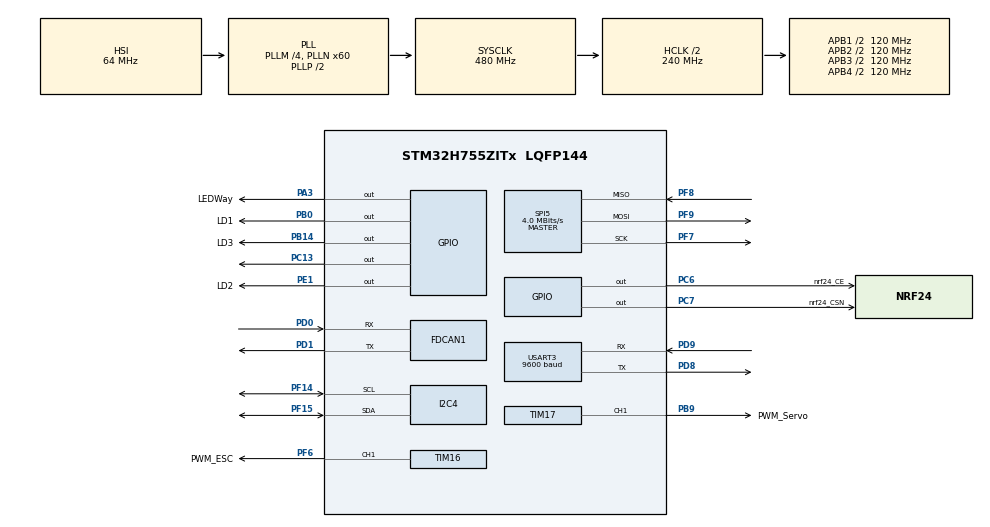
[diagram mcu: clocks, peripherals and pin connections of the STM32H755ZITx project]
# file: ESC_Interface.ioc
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CortexM4.IPs=BDMA,CORTEX_M4\:I,DEBUG,DMA,FATFS_M4\:I,FREERTOS_M4\:I,GPIO,IWDG2\:I,MDMA,NVIC2\:I,OPENAMP_M4\:I,PDM2PCM_M4\:I,PWR,RCC,RESMGR_UTILITY,SYS_M4\:I,USB_DEVICE_M4\:I,USB_HOST_M4\:I,VREFBUF,WWDG2\:I,USART3
CortexM7.IPs=BDMA\:I,CORTEX_M7\:I,DEBUG\:I,DMA\:I,FATFS_M7\:I,FREERTOS_M7\:I,GPIO\:I,IWDG1\:I,MDMA\:I,NVIC1\:I,OPENAMP_M7\:I,PDM2PCM_M7\:I,PWR\:I,RCC\:I,RESMGR_UTILITY\:I,SYS\:I,USB_DEVICE_M7\:I,USB_HOST_M7\:I,VREFBUF\:I,WWDG1\:I,USART3\:I,SPI5\:I,FDCAN1\:I,I2C4\:I,TIM16\:I,TIM17\:I
CortexM7.Pins=PA3,PC6,PC7
FDCAN1.CalculateBaudRateNominal=500000
FDCAN1.CalculateTimeBitNominal=2000
FDCAN1.CalculateTimeQuantumNominal=50.0
FDCAN1.NominalPrescaler=2
FDCAN1.NominalSyncJumpWidth=8
FDCAN1.NominalTimeSeg1=0x1F
FDCAN1.NominalTimeSeg2=8
FDCAN1.ProtocolException=ENABLE
FDCAN1.RxFifo0ElmtsNbr=1
FDCAN1.StdFiltersNbr=1
FDCAN1.TxFifoQueueElmtsNbr=1
FREERTOS_M4.Tasks01=defaultTask,0,128,StartDefaultTask,Default,NULL,Dynamic,NULL,NULL
FREERTOS_M7.Tasks01=defaultTask,0,128,StartDefaultTask,Default,NULL,Dynamic,NULL,NULL
I2C4.Timing=0x307075B1
Mcu.Family=STM32H7
Mcu.Name=STM32H755ZITx
Mcu.Package=LQFP144
NVIC1.PriorityGroup=NVIC_PRIORITYGROUP_4
NVIC2.PriorityGroup=NVIC_PRIORITYGROUP_4
PA3.GPIO_Label=LEDWay
PA3.PinAttribute=CortexM7
PA3.Signal=GPIO_Output
PB0.GPIO_Label=LD1
PB0.PinAttribute=Free
PB0.Signal=GPIO_Output
PB14.GPIO_Label=LD3
PB14.PinAttribute=Free
PB14.Signal=GPIO_Output
PB9.GPIO_Label=PWM_Servo
PB9.PinAttribute=CortexM7
PB9.Signal=S_TIM17_CH1
PC13.PinAttribute=Free
PC13.Signal=GPIO_Output
PC14-OSC32_IN\ (OSC32_IN).Mode=LSE-External-Oscillator
PC14-OSC32_IN\ (OSC32_IN).PinAttribute=CortexM7
PC14-OSC32_IN\ (OSC32_IN).Signal=RCC_OSC32_IN
PC15-OSC32_OUT\ (OSC32_OUT).Mode=LSE-External-Oscillator
PC15-OSC32_OUT\ (OSC32_OUT).PinAttribute=CortexM7
PC15-OSC32_OUT\ (OSC32_OUT).Signal=RCC_OSC32_OUT
PC6.GPIO_Label=nrf24_CE
PC6.PinAttribute=CortexM7
PC6.Signal=GPIO_Output
PC7.GPIO_Label=nrf24_CSN
PC7.PinAttribute=CortexM7
PC7.Signal=GPIO_Output
PD0.Mode=FDCAN_Activate
PD0.PinAttribute=CortexM7
PD0.Signal=FDCAN1_RX
PD1.Mode=FDCAN_Activate
PD1.PinAttribute=CortexM7
PD1.Signal=FDCAN1_TX
PD8.Mode=Asynchronous
PD8.PinAttribute=CortexM7
PD8.Signal=USART3_TX
PD9.Mode=Asynchronous
PD9.PinAttribute=CortexM7
PD9.Signal=USART3_RX
PE1.GPIO_Label=LD2
PE1.PinAttribute=Free
PE1.Signal=GPIO_Output
PF14.Mode=I2C
PF14.PinAttribute=CortexM7
PF14.Signal=I2C4_SCL
PF15.Mode=I2C
PF15.PinAttribute=CortexM7
PF15.Signal=I2C4_SDA
PF6.GPIO_Label=PWM_ESC
PF6.PinAttribute=CortexM7
PF6.Signal=S_TIM16_CH1
PF7.Mode=Full_Duplex_Master
PF7.PinAttribute=CortexM7
PF7.Signal=SPI5_SCK
PF8.Mode=Full_Duplex_Master
PF8.PinAttribute=CortexM7
PF8.Signal=SPI5_MISO
PF9.Mode=Full_Duplex_Master
PF9.PinAttribute=CortexM7
PF9.Signal=SPI5_MOSI
PH0-OSC_IN\ (PH0).Mode=HSE-External-Clock-Source
PH0-OSC_IN\ (PH0).PinAttribute=CortexM7
PH0-OSC_IN\ (PH0).Signal=RCC_OSC_IN
ProjectManager.HeapSize=M4-0x200,M7-0x200
ProjectManager.StackSize=M4-0x400,M7-0x400
ProjectManager.TargetToolchain=STM32CubeIDE
RCC.ADCFreq_Value=129000000
RCC.APB1Freq_Value=120000000
RCC.APB2Freq_Value=120000000
RCC.APB3Freq_Value=120000000
RCC.APB4Freq_Value=120000000
RCC.CortexFreq_Value=480000000
RCC.D1PPRE=RCC_APB3_DIV2
RCC.D2PPRE1=RCC_APB1_DIV2
RCC.D2PPRE2=RCC_APB2_DIV2
RCC.D3PPRE=RCC_APB4_DIV2
RCC.DIVM1=4
RCC.DIVN1=60
RCC.DIVQ1=24
RCC.HCLKFreq_Value=240000000
RCC.HPRE=RCC_HCLK_DIV2
RCC.HSE_VALUE=8000000
RCC.PLL2FRACN=0
RCC.PLL3FRACN=0
RCC.PLLFRACN=0
RCC.PWR_Regulator_Voltage_Scale=PWR_REGULATOR_VOLTAGE_SCALE0
RCC.SYSCLKFreq_VALUE=480000000
RCC.SYSCLKSource=RCC_SYSCLKSOURCE_PLLCLK
RCC.Spi45ClockSelection=RCC_SPI45CLKSOURCE_HSI
RCC.USBFreq_Value=40000000
SH.S_TIM16_CH1.0=TIM16_CH1,PWM Generation1 CH1
SH.S_TIM17_CH1.0=TIM17_CH1,PWM Generation1 CH1
SPI5.BaudRatePrescaler=SPI_BAUDRATEPRESCALER_16
SPI5.CalculateBaudRate=4.0 MBits/s
SPI5.DataSize=SPI_DATASIZE_8BIT
SPI5.Direction=SPI_DIRECTION_2LINES
SPI5.Mode=SPI_MODE_MASTER
SPI5.VirtualType=VM_MASTER
TIM16.Channel=TIM_CHANNEL_1
TIM16.Period=19999
TIM16.Prescaler=239
TIM16.Pulse=1500
TIM17.Channel=TIM_CHANNEL_1
TIM17.Period=19999
TIM17.Prescaler=239
USART3.BaudRate=9600
USART3.VirtualMode-Asynchronous=VM_ASYNC
VP_FREERTOS_M4_VS_CMSIS_V1.Mode=CMSIS_V1
VP_FREERTOS_M7_VS_CMSIS_V1.Mode=CMSIS_V1
VP_TIM16_VS_ClockSourceINT.Mode=Enable_Timer
VP_TIM17_VS_ClockSourceINT.Mode=Enable_Timer
board=custom

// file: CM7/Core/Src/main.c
/* USER CODE BEGIN Header */
/**
  ******************************************************************************
  * @file           : main.c
  * @brief          : Main program body
  ******************************************************************************
  * @attention
  *
  * Copyright (c) 2024 STMicroelectronics.
  * All rights reserved.
  *
  * This software is licensed under terms that can be found in the LICENSE file
  * in the root directory of this software component.
  * If no LICENSE file comes with this software, it is provided AS-IS.
  *
  ******************************************************************************
  */
/* USER CODE END Header */
#include "main.h"
#include "cmsis_os.h"

/* USER CODE BEGIN Includes */
#include "waypointDemo.h"
#include "MY_NRF24.h"
#include "mpu6050.h"
#include "myprintf.h"
#include "positionMessage.h"

/* USER CODE END Includes */

/* USER CODE BEGIN PD */

#ifndef HSEM_ID_0
#define HSEM_ID_0 (0U) /* HW semaphore 0*/
#endif
/* USER CODE END PD */

/* USER CODE BEGIN PM */
FDCAN_HandleTypeDef hfdcan1;
I2C_HandleTypeDef hi2c4;
SPI_HandleTypeDef hspi5;
TIM_HandleTypeDef htim16;
TIM_HandleTypeDef htim17;
UART_HandleTypeDef huart3;

osThreadId tarea1Handle;
osThreadId tarea2Handle;
osThreadId tarea3Handle;

osMessageQId msgQueueHandle;

osMutexId Mutex1Handle;
/* USER CODE END PM */

FDCAN_HandleTypeDef hfdcan1;

I2C_HandleTypeDef hi2c4;

SPI_HandleTypeDef hspi5;

TIM_HandleTypeDef htim16;
TIM_HandleTypeDef htim17;

UART_HandleTypeDef huart3;

/* USER CODE BEGIN PV */
FDCAN_FilterTypeDef sFilterConfig;
FDCAN_TxHeaderTypeDef TxHeader;
FDCAN_RxHeaderTypeDef RxHeader;
uint8_t TxData[8] = {0x10, 0x34, 0x54, 0x76, 0x98, 0x00, 0x11, 0x22};
uint8_t RxData[8];
// Variables para ensamblar los valores x, y y a
uint16_t x = 0;
uint16_t y = 0;
uint16_t a = 0;

/* USER CODE END PV */

void SystemClock_Config(void);
static void MX_GPIO_Init(void);
static void MX_USART3_UART_Init(void);
static void MX_SPI5_Init(void);
static void MX_FDCAN1_Init(void);
static void MX_I2C4_Init(void);
static void MX_TIM16_Init(void);
static void MX_TIM17_Init(void);
void StartDefaultTask(void const * argument);

/* USER CODE BEGIN PFP */
void SystemClock_Config(void);
static void MX_GPIO_Init(void);
static void MX_USART3_UART_Init(void);
static void MX_SPI5_Init(void);
static void MX_FDCAN1_Init(void);
static void MX_I2C4_Init(void);
static void MX_TIM16_Init(void);
static void MX_TIM17_Init(void);
void Tasks_Init(void);
void Task2_Init(void);
void startTask1(void const *argument);
void startTask2(void const *argument);
void startTask3(void const *argument);
/* USER CODE END PFP */

/* USER CODE BEGIN 0 */
volatile uint64_t cntMilisec = 0;
uint64_t RxpipeAddrs = 0x11223344AA;
char myRxData[32];
char myAckPayload[32] = "Ack by STMF7!";

float distanceTraveled;
int32_t encoderPosition;

/* USER CODE END 0 */

int main(void)
{
/* USER CODE BEGIN Boot_Mode_Sequence_0 */
/* USER CODE END Boot_Mode_Sequence_0 */

/* USER CODE BEGIN Boot_Mode_Sequence_1 */
  /* Wait until CPU2 boots and enters in stop mode or timeout*/

/* USER CODE END Boot_Mode_Sequence_1 */
  /* MCU Configuration--------------------------------------------------------*/

  /* Reset of all peripherals, Initializes the Flash interface and the Systick. */
  HAL_Init();

  /* Configure the system clock */
  SystemClock_Config();
/* USER CODE BEGIN Boot_Mode_Sequence_2 */
/* When system initialization is finished, Cortex-M7 will release Cortex-M4 by means of
HSEM notification */
/*HW semaphore Clock enable*/
__HAL_RCC_HSEM_CLK_ENABLE();
/*Take HSEM */
HAL_HSEM_FastTake(HSEM_ID_0);
/*Release HSEM in order to notify the CPU2(CM4)*/
HAL_HSEM_Release(HSEM_ID_0,0);
/* wait until CPU2 wakes up from stop mode */
/* USER CODE END Boot_Mode_Sequence_2 */

  /* Initialize all configured peripherals */
  MX_GPIO_Init();
  MX_USART3_UART_Init();
  MX_SPI5_Init();
  MX_FDCAN1_Init();
  MX_I2C4_Init();
  MX_TIM16_Init();
  MX_TIM17_Init();
  /* USER CODE BEGIN 2 */
	Tasks_Init();
	Task2_Init();
  /* USER CODE END 2 */

  /* USER CODE BEGIN RTOS_MUTEX */
  /* add mutexes, ... */
	osMutexDef(Mutex1);
	//osMutexDef(Mutex2);
	Mutex1Handle = osMutexCreate(osMutex(Mutex1));
  /* USER CODE END RTOS_MUTEX */

  /* USER CODE BEGIN RTOS_QUEUES */
  /* add queues, ... */
	osMessageQDef(msgQueue, 4, positionMessage);
	msgQueueHandle = osMessageCreate(osMessageQ(msgQueue), NULL);
  /* USER CODE END RTOS_QUEUES */

  /* Create the thread(s) */
  /* definition and creation of defaultTask */

  /* USER CODE BEGIN RTOS_THREADS */
	osThreadDef(task1, startTask1, 4, 0, 384);
	tarea1Handle = osThreadCreate(osThread(task1), NULL);

	osThreadDef(task3, startTask3, 2, 0, 384);
	tarea3Handle = osThreadCreate(osThread(task3), NULL);

	osThreadDef(task2, startTask2, 3, 0, 384);
	tarea2Handle = osThreadCreate(osThread(task2), NULL);
  /* add threads, ... */
  /* USER CODE END RTOS_THREADS */

  /* Start scheduler */
  osKernelStart();

  /* We should never get here as control is now taken by the scheduler */
  /* Infinite loop */
  while (1)
  {

  }
}

void SystemClock_Config(void)
{
  RCC_OscInitTypeDef RCC_OscInitStruct = {0};
  RCC_ClkInitTypeDef RCC_ClkInitStruct = {0};

  /** Supply configuration update enable
  */
  HAL_PWREx_ConfigSupply(PWR_DIRECT_SMPS_SUPPLY);

  /** Configure the main internal regulator output voltage
  */
  __HAL_PWR_VOLTAGESCALING_CONFIG(PWR_REGULATOR_VOLTAGE_SCALE0);

  while(!__HAL_PWR_GET_FLAG(PWR_FLAG_VOSRDY)) {}

  /** Initializes the RCC Oscillators according to the specified parameters
  * in the RCC_OscInitTypeDef structure.
  */
  RCC_OscInitStruct.OscillatorType = RCC_OSCILLATORTYPE_HSI;
  RCC_OscInitStruct.HSIState = RCC_HSI_DIV1;
  RCC_OscInitStruct.HSICalibrationValue = RCC_HSICALIBRATION_DEFAULT;
  RCC_OscInitStruct.PLL.PLLState = RCC_PLL_ON;
  RCC_OscInitStruct.PLL.PLLSource = RCC_PLLSOURCE_HSI;
  RCC_OscInitStruct.PLL.PLLM = 4;
  RCC_OscInitStruct.PLL.PLLN = 60;
  RCC_OscInitStruct.PLL.PLLP = 2;
  RCC_OscInitStruct.PLL.PLLQ = 24;
  RCC_OscInitStruct.PLL.PLLR = 2;
  RCC_OscInitStruct.PLL.PLLRGE = RCC_PLL1VCIRANGE_3;
  RCC_OscInitStruct.PLL.PLLVCOSEL = RCC_PLL1VCOWIDE;
  RCC_OscInitStruct.PLL.PLLFRACN = 0;
  if (HAL_RCC_OscConfig(&RCC_OscInitStruct) != HAL_OK)
  {
    Error_Handler();
  }

  /** Initializes the CPU, AHB and APB buses clocks
  */
  RCC_ClkInitStruct.ClockType = RCC_CLOCKTYPE_HCLK|RCC_CLOCKTYPE_SYSCLK
                              |RCC_CLOCKTYPE_PCLK1|RCC_CLOCKTYPE_PCLK2
                              |RCC_CLOCKTYPE_D3PCLK1|RCC_CLOCKTYPE_D1PCLK1;
  RCC_ClkInitStruct.SYSCLKSource = RCC_SYSCLKSOURCE_PLLCLK;
  RCC_ClkInitStruct.SYSCLKDivider = RCC_SYSCLK_DIV1;
  RCC_ClkInitStruct.AHBCLKDivider = RCC_HCLK_DIV2;
  RCC_ClkInitStruct.APB3CLKDivider = RCC_APB3_DIV2;
  RCC_ClkInitStruct.APB1CLKDivider = RCC_APB1_DIV2;
  RCC_ClkInitStruct.APB2CLKDivider = RCC_APB2_DIV2;
  RCC_ClkInitStruct.APB4CLKDivider = RCC_APB4_DIV2;

  if (HAL_RCC_ClockConfig(&RCC_ClkInitStruct, FLASH_LATENCY_4) != HAL_OK)
  {
    Error_Handler();
  }
}

static void MX_FDCAN1_Init(void)
{

  hfdcan1.Instance = FDCAN1;
  hfdcan1.Init.FrameFormat = FDCAN_FRAME_CLASSIC;
  hfdcan1.Init.Mode = FDCAN_MODE_NORMAL;
  hfdcan1.Init.AutoRetransmission = DISABLE;
  hfdcan1.Init.TransmitPause = DISABLE;
  hfdcan1.Init.ProtocolException = ENABLE;
  hfdcan1.Init.NominalPrescaler = 2;
  hfdcan1.Init.NominalSyncJumpWidth = 8;
  hfdcan1.Init.NominalTimeSeg1 = 0x1F;
  hfdcan1.Init.NominalTimeSeg2 = 8;
  hfdcan1.Init.DataPrescaler = 1;
  hfdcan1.Init.DataSyncJumpWidth = 1;
  hfdcan1.Init.DataTimeSeg1 = 1;
  hfdcan1.Init.DataTimeSeg2 = 1;
  hfdcan1.Init.MessageRAMOffset = 0;
  hfdcan1.Init.StdFiltersNbr = 1;
  hfdcan1.Init.ExtFiltersNbr = 0;
  hfdcan1.Init.RxFifo0ElmtsNbr = 1;
  hfdcan1.Init.RxFifo0ElmtSize = FDCAN_DATA_BYTES_8;
  hfdcan1.Init.RxFifo1ElmtsNbr = 0;
  hfdcan1.Init.RxFifo1ElmtSize = FDCAN_DATA_BYTES_8;
  hfdcan1.Init.RxBuffersNbr = 0;
  hfdcan1.Init.RxBufferSize = FDCAN_DATA_BYTES_8;
  hfdcan1.Init.TxEventsNbr = 0;
  hfdcan1.Init.TxBuffersNbr = 0;
  hfdcan1.Init.TxFifoQueueElmtsNbr = 1;
  hfdcan1.Init.TxFifoQueueMode = FDCAN_TX_FIFO_OPERATION;
  hfdcan1.Init.TxElmtSize = FDCAN_DATA_BYTES_8;
  if (HAL_FDCAN_Init(&hfdcan1) != HAL_OK)
  {
    Error_Handler();
  }
  /* USER CODE BEGIN FDCAN1_Init 2 */
  /*AAO+*/
    /* Configure Rx filter */
    sFilterConfig.IdType = FDCAN_STANDARD_ID;
    sFilterConfig.FilterIndex = 0;
    sFilterConfig.FilterType = FDCAN_FILTER_MASK;
    sFilterConfig.FilterConfig = FDCAN_FILTER_TO_RXFIFO0;
    sFilterConfig.FilterID1 = 0x000;
    sFilterConfig.FilterID2 = 0x000;
    /* Configure global filter to reject all non-matching frames */
    HAL_FDCAN_ConfigGlobalFilter(&hfdcan1, FDCAN_REJECT, FDCAN_REJECT, FDCAN_REJECT_REMOTE,
    FDCAN_REJECT_REMOTE);
    if (HAL_FDCAN_ConfigFilter(&hfdcan1, &sFilterConfig) != HAL_OK)
    {
  	  /* Filter configuration Error */
  	  Error_Handler();
    }
    /* Start the FDCAN module */
    if (HAL_FDCAN_Start(&hfdcan1) != HAL_OK) {
    }
    /* Start Error */
    if (HAL_FDCAN_ActivateNotification(&hfdcan1, FDCAN_IT_RX_FIFO0_NEW_MESSAGE, 0) != HAL_OK) {
    }
    /* Notification Error */
  	  /* Configure Tx buffer message */
  	  TxHeader.Identifier = 0x111;
  	  TxHeader.IdType = FDCAN_STANDARD_ID;
  	  TxHeader.TxFrameType = FDCAN_DATA_FRAME;
  	  TxHeader.DataLength = FDCAN_DLC_BYTES_12;
  	  TxHeader.ErrorStateIndicator = FDCAN_ESI_ACTIVE;
  	  TxHeader.BitRateSwitch = FDCAN_BRS_ON;
  	  TxHeader.FDFormat = FDCAN_FD_CAN;
  	  TxHeader.TxEventFifoControl = FDCAN_NO_TX_EVENTS;
  	  TxHeader.MessageMarker = 0x00;
  	  /*AAO-*/
  /* USER CODE END FDCAN1_Init 2 */

}

static void MX_I2C4_Init(void)
{

  hi2c4.Instance = I2C4;
  hi2c4.Init.Timing = 0x307075B1;
  hi2c4.Init.OwnAddress1 = 0;
  hi2c4.Init.AddressingMode = I2C_ADDRESSINGMODE_7BIT;
  hi2c4.Init.DualAddressMode = I2C_DUALADDRESS_DISABLE;
  hi2c4.Init.OwnAddress2 = 0;
  hi2c4.Init.OwnAddress2Masks = I2C_OA2_NOMASK;
  hi2c4.Init.GeneralCallMode = I2C_GENERALCALL_DISABLE;
  hi2c4.Init.NoStretchMode = I2C_NOSTRETCH_DISABLE;
  if (HAL_I2C_Init(&hi2c4) != HAL_OK)
  {
    Error_Handler();
  }

  /** Configure Analogue filter
  */
  if (HAL_I2CEx_ConfigAnalogFilter(&hi2c4, I2C_ANALOGFILTER_ENABLE) != HAL_OK)
  {
    Error_Handler();
  }

  /** Configure Digital filter
  */
  if (HAL_I2CEx_ConfigDigitalFilter(&hi2c4, 0) != HAL_OK)
  {
    Error_Handler();
  }

}

static void MX_SPI5_Init(void)
{

  /* SPI5 parameter configuration*/
  hspi5.Instance = SPI5;
  hspi5.Init.Mode = SPI_MODE_MASTER;
  hspi5.Init.Direction = SPI_DIRECTION_2LINES;
  hspi5.Init.DataSize = SPI_DATASIZE_8BIT;
  hspi5.Init.CLKPolarity = SPI_POLARITY_LOW;
  hspi5.Init.CLKPhase = SPI_PHASE_1EDGE;
  hspi5.Init.NSS = SPI_NSS_SOFT;
  hspi5.Init.BaudRatePrescaler = SPI_BAUDRATEPRESCALER_16;
  hspi5.Init.FirstBit = SPI_FIRSTBIT_MSB;
  hspi5.Init.TIMode = SPI_TIMODE_DISABLE;
  hspi5.Init.CRCCalculation = SPI_CRCCALCULATION_DISABLE;
  hspi5.Init.CRCPolynomial = 0x0;
  hspi5.Init.NSSPMode = SPI_NSS_PULSE_ENABLE;
  hspi5.Init.NSSPolarity = SPI_NSS_POLARITY_LOW;
  hspi5.Init.FifoThreshold = SPI_FIFO_THRESHOLD_01DATA;
  hspi5.Init.TxCRCInitializationPattern = SPI_CRC_INITIALIZATION_ALL_ZERO_PATTERN;
  hspi5.Init.RxCRCInitializationPattern = SPI_CRC_INITIALIZATION_ALL_ZERO_PATTERN;
  hspi5.Init.MasterSSIdleness = SPI_MASTER_SS_IDLENESS_00CYCLE;
  hspi5.Init.MasterInterDataIdleness = SPI_MASTER_INTERDATA_IDLENESS_00CYCLE;
  hspi5.Init.MasterReceiverAutoSusp = SPI_MASTER_RX_AUTOSUSP_DISABLE;
  hspi5.Init.MasterKeepIOState = SPI_MASTER_KEEP_IO_STATE_DISABLE;
  hspi5.Init.IOSwap = SPI_IO_SWAP_DISABLE;
  if (HAL_SPI_Init(&hspi5) != HAL_OK)
  {
    Error_Handler();
  }

}

static void MX_TIM16_Init(void)
{

  TIM_OC_InitTypeDef sConfigOC = {0};
  TIM_BreakDeadTimeConfigTypeDef sBreakDeadTimeConfig = {0};

  htim16.Instance = TIM16;
  htim16.Init.Prescaler = 239;
  htim16.Init.CounterMode = TIM_COUNTERMODE_UP;
  htim16.Init.Period = 19999;
  htim16.Init.ClockDivision = TIM_CLOCKDIVISION_DIV1;
  htim16.Init.RepetitionCounter = 0;
  htim16.Init.AutoReloadPreload = TIM_AUTORELOAD_PRELOAD_DISABLE;
  if (HAL_TIM_Base_Init(&htim16) != HAL_OK)
  {
    Error_Handler();
  }
  if (HAL_TIM_PWM_Init(&htim16) != HAL_OK)
  {
    Error_Handler();
  }
  sConfigOC.OCMode = TIM_OCMODE_PWM1;
  sConfigOC.Pulse = 1500;
  sConfigOC.OCPolarity = TIM_OCPOLARITY_HIGH;
  sConfigOC.OCNPolarity = TIM_OCNPOLARITY_HIGH;
  sConfigOC.OCFastMode = TIM_OCFAST_DISABLE;
  sConfigOC.OCIdleState = TIM_OCIDLESTATE_RESET;
  sConfigOC.OCNIdleState = TIM_OCNIDLESTATE_RESET;
  if (HAL_TIM_PWM_ConfigChannel(&htim16, &sConfigOC, TIM_CHANNEL_1) != HAL_OK)
  {
    Error_Handler();
  }
  sBreakDeadTimeConfig.OffStateRunMode = TIM_OSSR_DISABLE;
  sBreakDeadTimeConfig.OffStateIDLEMode = TIM_OSSI_DISABLE;
  sBreakDeadTimeConfig.LockLevel = TIM_LOCKLEVEL_OFF;
  sBreakDeadTimeConfig.DeadTime = 0;
  sBreakDeadTimeConfig.BreakState = TIM_BREAK_DISABLE;
  sBreakDeadTimeConfig.BreakPolarity = TIM_BREAKPOLARITY_HIGH;
  sBreakDeadTimeConfig.BreakFilter = 0;
  sBreakDeadTimeConfig.AutomaticOutput = TIM_AUTOMATICOUTPUT_DISABLE;
  if (HAL_TIMEx_ConfigBreakDeadTime(&htim16, &sBreakDeadTimeConfig) != HAL_OK)
  {
    Error_Handler();
  }
  HAL_TIM_MspPostInit(&htim16);

}

static void MX_TIM17_Init(void)
{

  TIM_OC_InitTypeDef sConfigOC = {0};
  TIM_BreakDeadTimeConfigTypeDef sBreakDeadTimeConfig = {0};

  htim17.Instance = TIM17;
  htim17.Init.Prescaler = 239;
  htim17.Init.CounterMode = TIM_COUNTERMODE_UP;
  htim17.Init.Period = 19999;
  htim17.Init.ClockDivision = TIM_CLOCKDIVISION_DIV1;
  htim17.Init.RepetitionCounter = 0;
  htim17.Init.AutoReloadPreload = TIM_AUTORELOAD_PRELOAD_DISABLE;
  if (HAL_TIM_Base_Init(&htim17) != HAL_OK)
  {
    Error_Handler();
  }
  if (HAL_TIM_PWM_Init(&htim17) != HAL_OK)
  {
    Error_Handler();
  }
  sConfigOC.OCMode = TIM_OCMODE_PWM1;
  sConfigOC.Pulse = 0;
  sConfigOC.OCPolarity = TIM_OCPOLARITY_HIGH;
  sConfigOC.OCNPolarity = TIM_OCNPOLARITY_HIGH;
  sConfigOC.OCFastMode = TIM_OCFAST_DISABLE;
  sConfigOC.OCIdleState = TIM_OCIDLESTATE_RESET;
  sConfigOC.OCNIdleState = TIM_OCNIDLESTATE_RESET;
  if (HAL_TIM_PWM_ConfigChannel(&htim17, &sConfigOC, TIM_CHANNEL_1) != HAL_OK)
  {
    Error_Handler();
  }
  sBreakDeadTimeConfig.OffStateRunMode = TIM_OSSR_DISABLE;
  sBreakDeadTimeConfig.OffStateIDLEMode = TIM_OSSI_DISABLE;
  sBreakDeadTimeConfig.LockLevel = TIM_LOCKLEVEL_OFF;
  sBreakDeadTimeConfig.DeadTime = 0;
  sBreakDeadTimeConfig.BreakState = TIM_BREAK_DISABLE;
  sBreakDeadTimeConfig.BreakPolarity = TIM_BREAKPOLARITY_HIGH;
  sBreakDeadTimeConfig.BreakFilter = 0;
  sBreakDeadTimeConfig.AutomaticOutput = TIM_AUTOMATICOUTPUT_DISABLE;
  if (HAL_TIMEx_ConfigBreakDeadTime(&htim17, &sBreakDeadTimeConfig) != HAL_OK)
  {
    Error_Handler();
  }
  HAL_TIM_MspPostInit(&htim17);

}

static void MX_USART3_UART_Init(void)
{

  huart3.Instance = USART3;
  huart3.Init.BaudRate = 9600;
  huart3.Init.WordLength = UART_WORDLENGTH_8B;
  huart3.Init.StopBits = UART_STOPBITS_1;
  huart3.Init.Parity = UART_PARITY_NONE;
  huart3.Init.Mode = UART_MODE_TX_RX;
  huart3.Init.HwFlowCtl = UART_HWCONTROL_NONE;
  huart3.Init.OverSampling = UART_OVERSAMPLING_16;
  huart3.Init.OneBitSampling = UART_ONE_BIT_SAMPLE_DISABLE;
  huart3.Init.ClockPrescaler = UART_PRESCALER_DIV1;
  huart3.AdvancedInit.AdvFeatureInit = UART_ADVFEATURE_NO_INIT;
  if (HAL_UART_Init(&huart3) != HAL_OK)
  {
    Error_Handler();
  }
  if (HAL_UARTEx_SetTxFifoThreshold(&huart3, UART_TXFIFO_THRESHOLD_1_8) != HAL_OK)
  {
    Error_Handler();
  }
  if (HAL_UARTEx_SetRxFifoThreshold(&huart3, UART_RXFIFO_THRESHOLD_1_8) != HAL_OK)
  {
    Error_Handler();
  }
  if (HAL_UARTEx_DisableFifoMode(&huart3) != HAL_OK)
  {
    Error_Handler();
  }

}

static void MX_GPIO_Init(void)
{
  GPIO_InitTypeDef GPIO_InitStruct = {0};

  /* GPIO Ports Clock Enable */
  __HAL_RCC_GPIOC_CLK_ENABLE();
  __HAL_RCC_GPIOF_CLK_ENABLE();
  __HAL_RCC_GPIOH_CLK_ENABLE();
  __HAL_RCC_GPIOA_CLK_ENABLE();
  __HAL_RCC_GPIOD_CLK_ENABLE();
  __HAL_RCC_GPIOB_CLK_ENABLE();

  /*Configure GPIO pin Output Level */
  HAL_GPIO_WritePin(LEDWay_GPIO_Port, LEDWay_Pin, GPIO_PIN_RESET);

  /*Configure GPIO pin Output Level */
  HAL_GPIO_WritePin(GPIOC, nrf24_CE_Pin|nrf24_CSN_Pin, GPIO_PIN_RESET);

  /*Configure GPIO pin : LEDWay_Pin */
  GPIO_InitStruct.Pin = LEDWay_Pin;
  GPIO_InitStruct.Mode = GPIO_MODE_OUTPUT_PP;
  GPIO_InitStruct.Pull = GPIO_NOPULL;
  GPIO_InitStruct.Speed = GPIO_SPEED_FREQ_LOW;
  HAL_GPIO_Init(LEDWay_GPIO_Port, &GPIO_InitStruct);

  /*Configure GPIO pins : nrf24_CE_Pin nrf24_CSN_Pin */
  GPIO_InitStruct.Pin = nrf24_CE_Pin|nrf24_CSN_Pin;
  GPIO_InitStruct.Mode = GPIO_MODE_OUTPUT_PP;
  GPIO_InitStruct.Pull = GPIO_NOPULL;
  GPIO_InitStruct.Speed = GPIO_SPEED_FREQ_LOW;
  HAL_GPIO_Init(GPIOC, &GPIO_InitStruct);

}

/* USER CODE BEGIN 4 */
void startTask1(void const *argument) { // Read Arduino CAN Message
	//positionMessage msg;
    for (;;) {
        if (HAL_FDCAN_GetRxMessage(&hfdcan1, FDCAN_RX_FIFO0, &RxHeader, RxData) == HAL_OK) {
            if (osMutexWait(Mutex1Handle, osWaitForever) == osOK) {
                // Decodificar los datos recibidos para encoderPosition (uint32_t)
            	uint32_t encoderPosition = (uint32_t)(
                    ((uint32_t)RxData[0] << 24) |
                    ((uint32_t)RxData[1] << 16) |
                    ((uint32_t)RxData[2] << 8) |
                    ((uint32_t)RxData[3])
                );

                // Decodificar los datos recibidos para distanceTraveled (uint32_t)
                uint32_t distanceRaw = (uint32_t)(
                    ((uint32_t)RxData[4] << 24) |
                    ((uint32_t)RxData[5] << 16) |
                    ((uint32_t)RxData[6] << 8) |
                    ((uint32_t)RxData[7])
                );

                // Convertir distanceRaw de milímetros a metros
                distanceTraveled = distanceRaw / 1000.0f;
                //msg.position = distanceTraveled;

                // Verificar los datos decodificados
                printf("\n\rDecoded Values:\n\r");
                //printf("  Encoder Position: %ld\n\r", encoderPosition); // Signed integer
                //printf("  Distance Traveled: %f meters\n\r", msg.position); // Unsigned float
                //osMessagePut(msgQueueHandle, (uint32_t)&msg, 1);

                osMutexRelease(Mutex1Handle); // Liberar el mutex después de usarlo
            } else {
                // Agregar un mensaje de error si no se puede obtener el mutex
                printf("Task1: Failed to acquire mutex\n");
            }
        }
        osDelay(50); // Pausa de 10 ms para evitar sobrecargar la CPU
    }
}

void Tasks_Init(void){
	//Task 1
	MX_GPIO_Init();
	MX_USART3_UART_Init();
	MX_SPI5_Init();
	MX_FDCAN1_Init();
	MX_I2C4_Init();
	MX_TIM16_Init();
	MX_TIM17_Init();
	initServoTim(htim17);
	initESCTim(htim16);
	Task2_Init();
}

void Task2_Init(void){
	NRF24_setPALevel(RF24_PA_0dB);
	NRF24_begin(GPIOC, nrf24_CSN_Pin, nrf24_CE_Pin, hspi5); // Ajusta según tu configuración de pines
	nrf24_DebugUART_Init(huart3);
	NRF24_openReadingPipe(1, RxpipeAddrs); // Abre el pipe 1 con la dirección configurada
	NRF24_setAutoAck(false);
	NRF24_setChannel(60);// de RF, asegúrate que coincida con el Arduino
	NRF24_setPayloadSize(32);
	NRF24_setDataRate(RF24_2MBPS); // Velocidad de datos, debe coincidir con el Arduino
	NRF24_enableDynamicPayloads();
	NRF24_enableAckPayload();
	NRF24_startListening(); // Comienza a escuchar
}

void startTask2(void const *argument) {
	//HAL_GPIO_TogglePin(LEDWay_GPIO_Port,LEDWay_Pin);
	//HAL_Delay(100);
    // Buffer de recepción del NRF24
    uint8_t buffer[6];
    // Buffer de salida con un tamaño adecuado
    char myRxData[64]; // Ajustado para manejar toda la salida sin truncamiento
    positionMessage msg;

    for (;;) {
        if (NRF24_available()) {
        	if (osMutexWait(Mutex1Handle, osWaitForever) == osOK){
                // Leer los datos recibidos en el buffer
                NRF24_read(buffer, sizeof(buffer));

                // Depuración: Imprimir el contenido del buffer
                int len = snprintf(myRxData, sizeof(myRxData),
                                   "Raw Buffer: %02X %02X %02X %02X %02X %02X \r\n",
                                   buffer[0], buffer[1], buffer[2], buffer[3], buffer[4], buffer[5]);

                // Verificar si el mensaje fue truncado
                if (len >= sizeof(myRxData)) {
                    printf("Advertencia: Truncamiento de datos en myRxData\n");
                }

                HAL_UART_Transmit(&huart3, (uint8_t *)myRxData, strlen(myRxData), HAL_MAX_DELAY);

                // Ensamblar valores x, y, y a
                x = (buffer[0] << 8) | buffer[1]; // Big-endian
                y = (buffer[2] << 8) | buffer[3];
                a = (buffer[4] << 8) | buffer[5];

                // Depuración: Imprimir los valores calculados
                len = snprintf(myRxData, sizeof(myRxData),
                               "x = %u, y = %u, a = %u \r\n", x, y, a);
                msg.x = x;
                msg.y = y;
                msg.a = a;

                if (len >= sizeof(myRxData)) {
                    printf("Advertencia: Truncamiento de datos en myRxData\n");
                }

                HAL_UART_Transmit(&huart3, (uint8_t *)myRxData, strlen(myRxData), HAL_MAX_DELAY);
                osMessagePut(msgQueueHandle, (uint32_t)&msg, 1);
                osMutexRelease(Mutex1Handle); // Liberar el mutex después de usarlo
			}

        	/*
        	else
        	{
					osDelay(10); // Pausa de 10 ms cuando no hay datos
			}
			*/
		}
        osDelay(500);
    }
}

void startTask3(void const *argument){
	osEvent evt;
	for(;;)
	{
		evt = osMessageGet(msgQueueHandle, osWaitForever);
		if(evt.status == osEventMessage){
			if (osMutexWait(Mutex1Handle, osWaitForever) == osOK){
				positionMessage* receivedMsg = (positionMessage*) evt.value.p;

				//testingServoLimits();
				//testingESCLimits();
				printf("Position: %f\n\r", distanceTraveled);
				waypointPathEncoder(distanceTraveled, receivedMsg->x, receivedMsg->y, receivedMsg->a);
		        osMutexRelease(Mutex1Handle); // Liberar el mutex después de usarlo

			}
		}
		osDelay(50);
	}
}
/* USER CODE END 4 */

void Error_Handler(void)
{
  __disable_irq();
  while (1)
  {
  }
}
